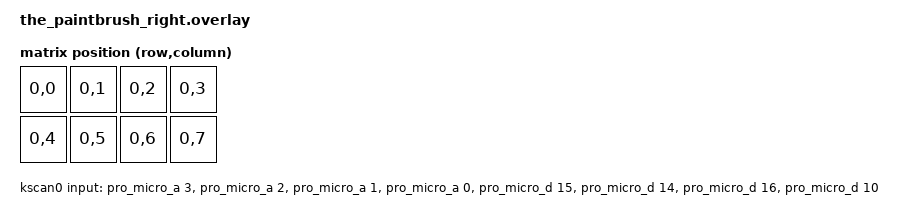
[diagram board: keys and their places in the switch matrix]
/*
 * Copyright (c) 2021 Mike "KemoNine" Crosson
 *
 * SPDX-License-Identifier: MIT
 */

#include <dt-bindings/zmk/matrix_transform.h>
#include <physical_layouts.dtsi>

&pro_micro_i2c {
	status = "okay";

	oled: ssd1306@3c {
		compatible = "solomon,ssd1306fb";
		reg = <0x3c>;
		label = "DISPLAY";
		width = <128>;
		height = <32>;
		segment-offset = <0>;
		page-offset = <0>;
		display-offset = <0>;
		multiplex-ratio = <31>;
		segment-remap;
		com-invdir;
		com-sequential;
		prechargep = <0x22>;
		inversion-on;
	};
};

/ {
	chosen {
		zmk,kscan = &kscan0;
		zephyr,display = &oled;
		zmk,physical-layout = &physical_layout0;
	};

	kscan0: kscan_0 {
		compatible = "zmk,kscan-gpio-direct";

		label = "KSCAN";

		input-gpios
			= <&pro_micro_a 3 (GPIO_ACTIVE_LOW | GPIO_PULL_UP)>
			, <&pro_micro_a 2 (GPIO_ACTIVE_LOW | GPIO_PULL_UP)>
			, <&pro_micro_a 1 (GPIO_ACTIVE_LOW | GPIO_PULL_UP)>
			, <&pro_micro_a 0 (GPIO_ACTIVE_LOW | GPIO_PULL_UP)>
			, <&pro_micro_d 15 (GPIO_ACTIVE_LOW | GPIO_PULL_UP)>
			, <&pro_micro_d 14 (GPIO_ACTIVE_LOW | GPIO_PULL_UP)>
			, <&pro_micro_d 16 (GPIO_ACTIVE_LOW | GPIO_PULL_UP)>
			, <&pro_micro_d 10 (GPIO_ACTIVE_LOW | GPIO_PULL_UP)>
			;

	};

	/*
	 * kscan-gpio-direct reports every input as row 0 / column <input index>,
	 * so the transform below is a straight 1:1 map: keymap position N is the
	 * N-th entry of input-gpios above.
	 */
	default_transform: keymap_transform_0 {
		compatible = "zmk,matrix-transform";
		columns = <8>;
		rows = <1>;

		map = <
			RC(0,0) RC(0,1) RC(0,2) RC(0,3) RC(0,4) RC(0,5) RC(0,6) RC(0,7)
		>;
	};

	/*
	 * Required for ZMK Studio builds. The right half is normally built
	 * without Studio, but the layout is defined here too so both halves can
	 * be built with -DCONFIG_ZMK_STUDIO=y if needed.
	 */
	physical_layout0: physical_layout_0 {
		compatible = "zmk,physical-layout";
		display-name = "Paintbrush Right";

		transform = <&default_transform>;

		keys  //                     w   h    x    y   rot  rx  ry
			= <&key_physical_attrs 100 100   0    0   0   0   0>
			, <&key_physical_attrs 100 100 100    0   0   0   0>
			, <&key_physical_attrs 100 100 200    0   0   0   0>
			, <&key_physical_attrs 100 100 300    0   0   0   0>
			, <&key_physical_attrs 100 100   0  100   0   0   0>
			, <&key_physical_attrs 100 100 100  100   0   0   0>
			, <&key_physical_attrs 100 100 200  100   0   0   0>
			, <&key_physical_attrs 100 100 300  100   0   0   0>
			;
	};
};
